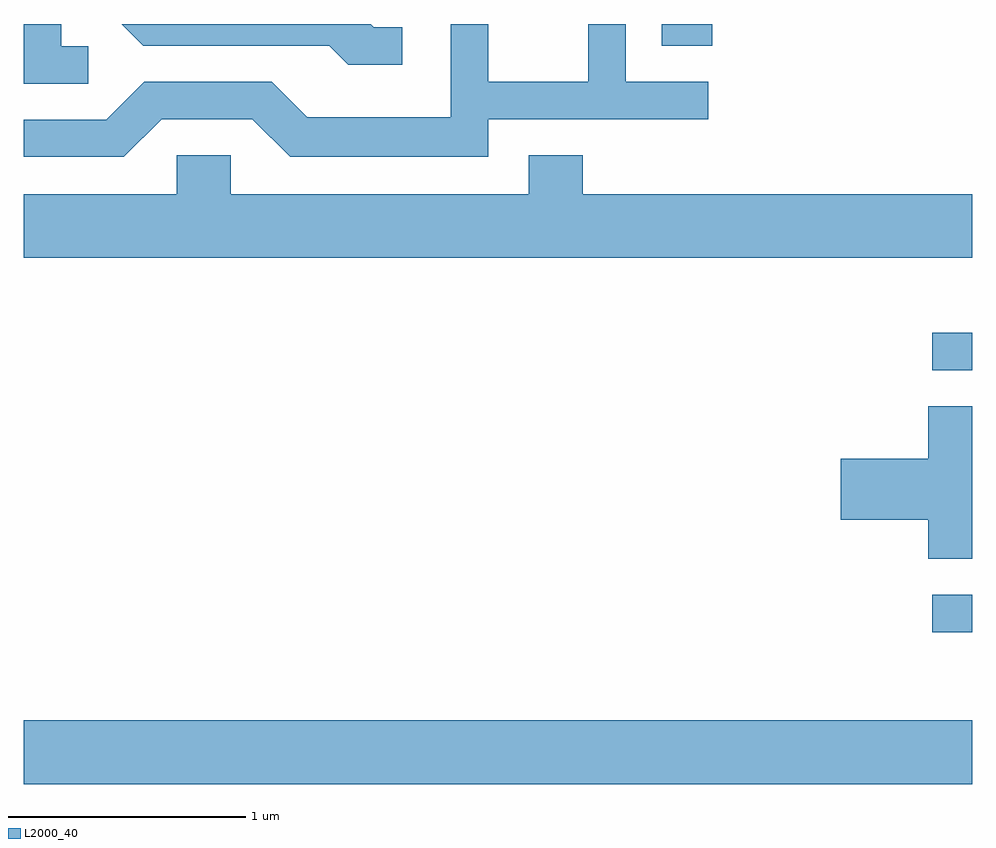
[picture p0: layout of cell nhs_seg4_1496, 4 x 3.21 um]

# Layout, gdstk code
import gdstk
lib = gdstk.Library(unit=1e-6, precision=1e-09)
def R(c, l, rs):  # rectangles x0, y0, x1, y1
    for r in rs: c.add(gdstk.rectangle(r[:2], r[2:], *l))
def P(c, l, *ps):  # polygons
    for p in ps: c.add(gdstk.Polygon(p, *l))
L2000_40 = (2000, 40)

nhs_seg4_1496 = lib.new_cell('nhs_seg4_1496')
R(nhs_seg4_1496, L2000_40, [(229.611,1254.776,233.611,1255.044), (233.443,1255.416,233.611,1255.574), (233.443,1256.521,233.611,1256.679), (232.301,1257.891,232.514,1257.982)])
P(nhs_seg4_1496, L2000_40, [(229.883,1257.889),(229.769,1257.889),(229.769,1257.982),(229.611,1257.982),(229.611,1257.731),(229.883,1257.731)],
  [(230.192,1257.581),(230.574,1257.581),(230.734,1257.421),(231.569,1257.421),(231.569,1257.581),(232.498,1257.581),(232.498,1257.739),(232.149,1257.739),(232.149,1257.982),(231.991,1257.982),(231.991,1257.739),(231.569,1257.739),(231.569,1257.982),(231.411,1257.982),(231.411,1257.589),(230.807,1257.589),(230.657,1257.739),(230.119,1257.739),(229.959,1257.579),(229.611,1257.579),(229.611,1257.421),(230.032,1257.421)],
  [(231.208,1257.969),(231.087,1257.969),(231.074,1257.982),(230.023,1257.982),(230.114,1257.891),(230.899,1257.891),(230.979,1257.811),(231.208,1257.811)],
  [(233.611,1257.264),(231.969,1257.264),(231.969,1257.429),(231.741,1257.429),(231.741,1257.264),(230.484,1257.264),(230.484,1257.429),(230.256,1257.429),(230.256,1257.264),(229.611,1257.264),(229.611,1256.996),(233.611,1256.996)],
  [(233.611,1256.369),(233.426,1256.369),(233.426,1256.149),(233.056,1256.149),(233.056,1255.891),(233.426,1255.891),(233.426,1255.726),(233.611,1255.726)])

lib.write_gds('nhs_seg4_1496.gds')
